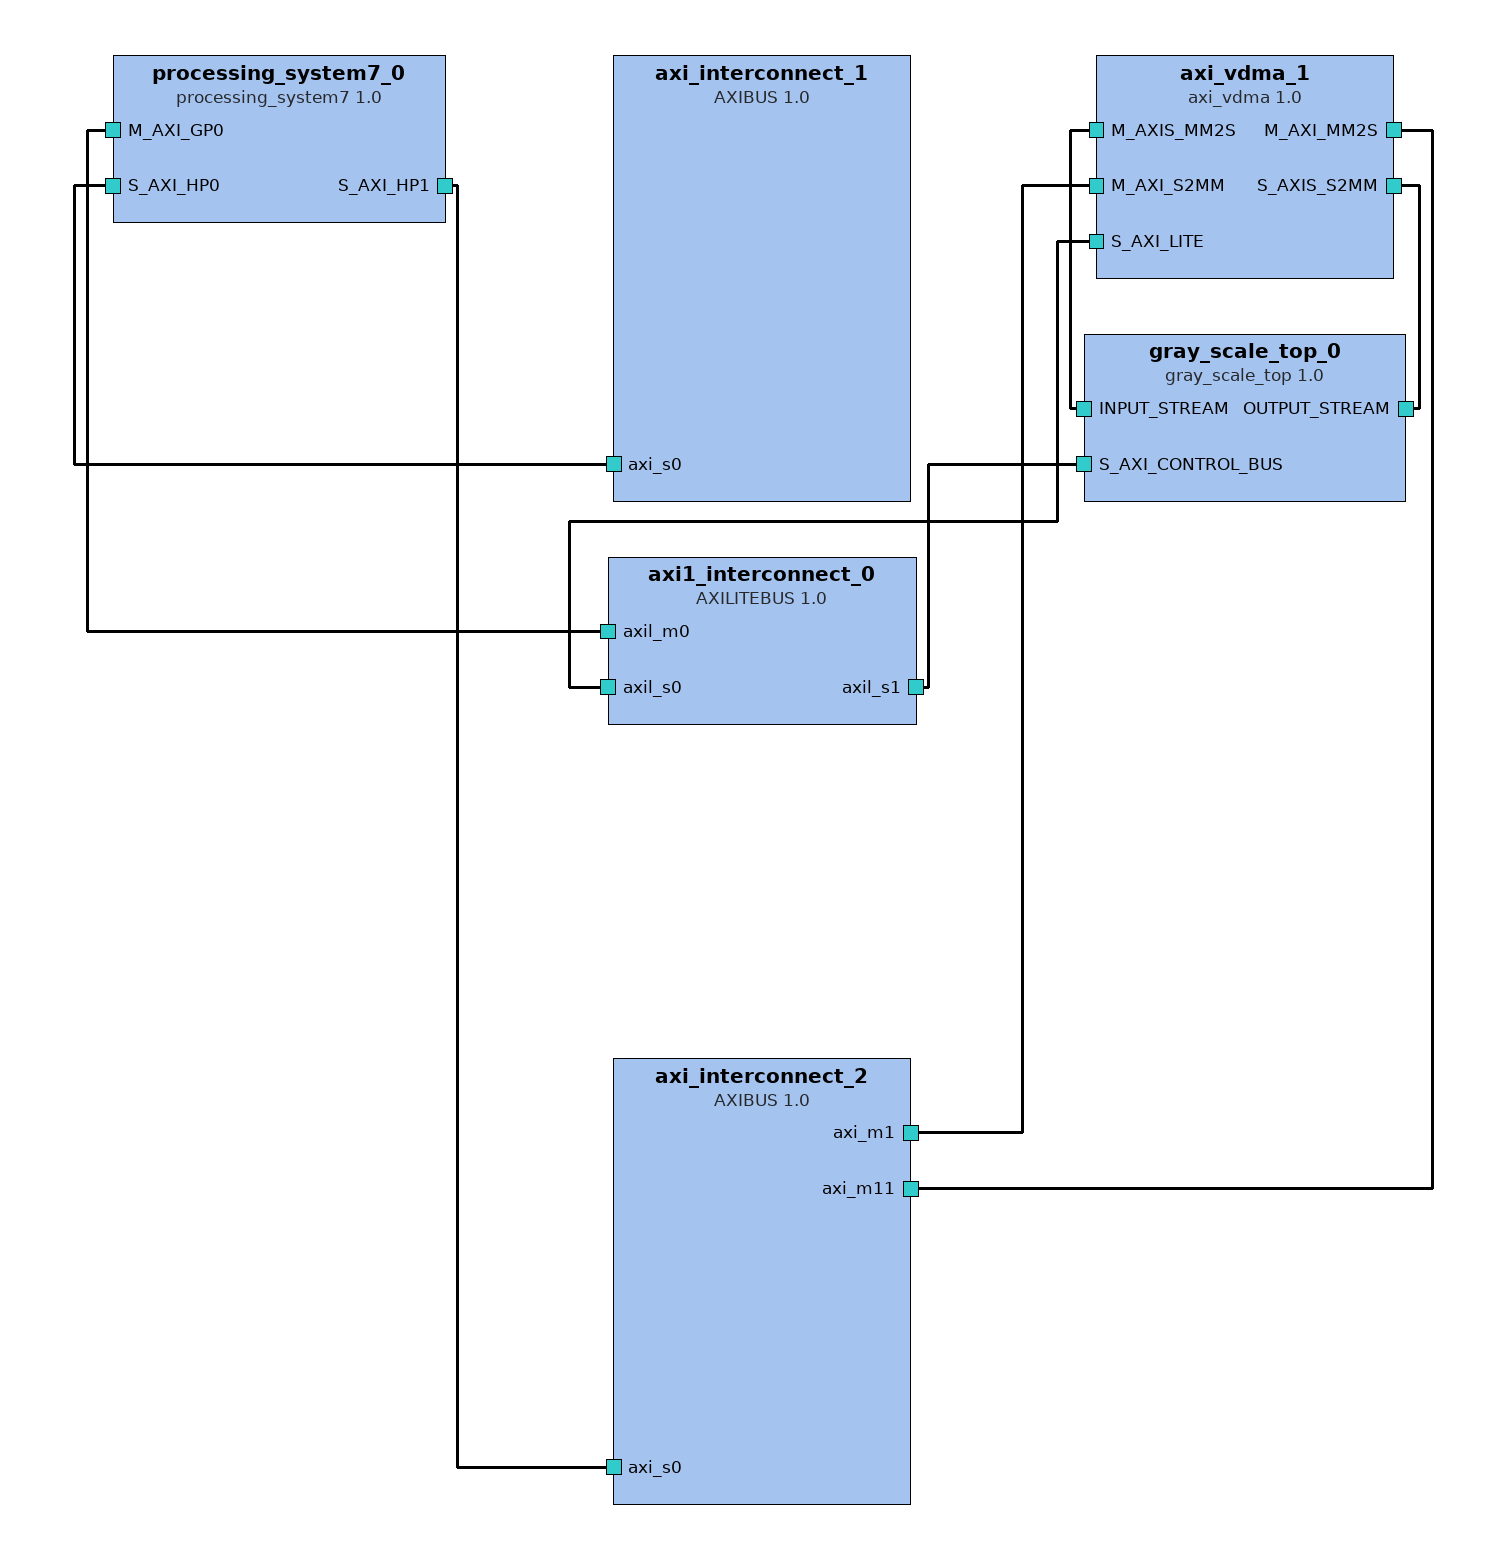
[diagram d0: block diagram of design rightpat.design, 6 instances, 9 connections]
<?xml version="1.0" encoding="UTF-8"?>
<!-- Created by Kactus210:25:04 25.06.2014 -->
<spirit:design xmlns:kactus2="http://funbase.cs.tut.fi/" xmlns:spirit="http://www.spiritconsortium.org/XMLSchema/SPIRIT/1.5" xmlns:xsi="http://www.w3.org/2001/XMLSchema-instance" xsi:schemaLocation="http://www.spiritconsortium.org/XMLSchema/SPIRIT/1.5 http://www.spiritconsortium.org/XMLSchema/SPIRIT/1.5/index.xsd"><spirit:vendor>ARM</spirit:vendor><spirit:library>design</spirit:library><spirit:name>rightpat.design</spirit:name>
 <spirit:version>1.0</spirit:version><spirit:componentInstances>
 <spirit:componentInstance><spirit:instanceName>axi_vdma_1</spirit:instanceName><spirit:componentRef spirit:vendor="ARM" spirit:library="ip" spirit:name="axi_vdma" spirit:version="1.0"/></spirit:componentInstance>
 <spirit:componentInstance><spirit:instanceName>gray_scale_top_0</spirit:instanceName><spirit:componentRef spirit:vendor="ARM" spirit:library="ip" spirit:name="gray_scale_top" spirit:version="1.0"/></spirit:componentInstance>
 <spirit:componentInstance><spirit:instanceName>axi1_interconnect_0</spirit:instanceName><spirit:componentRef spirit:vendor="ARM" spirit:library="bus" spirit:name="AXILITEBUS" spirit:version="1.0"/></spirit:componentInstance>
 <spirit:componentInstance><spirit:instanceName>axi_interconnect_1</spirit:instanceName><spirit:componentRef spirit:vendor="ARM" spirit:library="bus" spirit:name="AXIBUS" spirit:version="1.0"/></spirit:componentInstance>
 <spirit:componentInstance><spirit:instanceName>axi_interconnect_2</spirit:instanceName><spirit:componentRef spirit:vendor="ARM" spirit:library="bus" spirit:name="AXIBUS" spirit:version="1.0"/></spirit:componentInstance>
 <spirit:componentInstance><spirit:instanceName>processing_system7_0</spirit:instanceName><spirit:componentRef spirit:vendor="ARM" spirit:library="ip" spirit:name="processing_system7" spirit:version="1.0"/></spirit:componentInstance>
</spirit:componentInstances><spirit:interconnections>
 <spirit:interconnection><spirit:name>ps7_system_0_M_AXI_GP0_to_axi1_0_axil_m0</spirit:name><spirit:activeInterface spirit:componentRef="processing_system7_0" spirit:busRef="M_AXI_GP0"/><spirit:activeInterface spirit:componentRef="axi1_interconnect_0" spirit:busRef="axil_m0"/></spirit:interconnection>
 <spirit:interconnection><spirit:name>ps7_system_0_S_AXI_HP0_to_axi_1_axi_s0</spirit:name><spirit:activeInterface spirit:componentRef="processing_system7_0" spirit:busRef="S_AXI_HP0"/><spirit:activeInterface spirit:componentRef="axi_interconnect_1" spirit:busRef="axi_s0"/></spirit:interconnection>
 <spirit:interconnection><spirit:name>ps7_system_0_S_AXI_HP1_to_axi_2_axi_s0</spirit:name><spirit:activeInterface spirit:componentRef="processing_system7_0" spirit:busRef="S_AXI_HP1"/><spirit:activeInterface spirit:componentRef="axi_interconnect_2" spirit:busRef="axi_s0"/></spirit:interconnection>
 <spirit:interconnection><spirit:name>axi_vdma_1_S_AXI_LITE_to_axi1_0_axil_s0</spirit:name><spirit:activeInterface spirit:componentRef="axi_vdma_1" spirit:busRef="S_AXI_LITE"/><spirit:activeInterface spirit:componentRef="axi1_interconnect_0" spirit:busRef="axil_s0"/></spirit:interconnection>
 <spirit:interconnection><spirit:name>gray_scale_top_0_S_AXI_CONTROL_BUS_to_axi1_0_axil_s1</spirit:name><spirit:activeInterface spirit:componentRef="gray_scale_top_0" spirit:busRef="S_AXI_CONTROL_BUS"/><spirit:activeInterface spirit:componentRef="axi1_interconnect_0" spirit:busRef="axil_s1"/></spirit:interconnection>
 <spirit:interconnection><spirit:name>gray_scale_top_0_INPUT_STREAM_to_axi_vdma_1_M_AXIS_MM2S</spirit:name><spirit:activeInterface spirit:componentRef="gray_scale_top_0" spirit:busRef="INPUT_STREAM"/><spirit:activeInterface spirit:componentRef="axi_vdma_1" spirit:busRef="M_AXIS_MM2S"/></spirit:interconnection>
 <spirit:interconnection><spirit:name>gray_scale_top_0_OUTPUT_STREAM_to_axi_vdma_1_S_AXIS_S2MM</spirit:name><spirit:activeInterface spirit:componentRef="gray_scale_top_0" spirit:busRef="OUTPUT_STREAM"/><spirit:activeInterface spirit:componentRef="axi_vdma_1" spirit:busRef="S_AXIS_S2MM"/></spirit:interconnection>
 <spirit:interconnection><spirit:name>axi_vdma_1_M_AXI_S2MM_to_axi_2_axi_m1</spirit:name><spirit:activeInterface spirit:componentRef="axi_vdma_1" spirit:busRef="M_AXI_S2MM"/><spirit:activeInterface spirit:componentRef="axi_interconnect_2" spirit:busRef="axi_m1"/></spirit:interconnection>
 <spirit:interconnection><spirit:name>axi_vdma_1_M_AXI_MM2S_to_axi_2_axi_m11</spirit:name><spirit:activeInterface spirit:componentRef="axi_vdma_1" spirit:busRef="M_AXI_MM2S"/><spirit:activeInterface spirit:componentRef="axi_interconnect_2" spirit:busRef="axi_m11"/></spirit:interconnection>
</spirit:interconnections></spirit:design>

